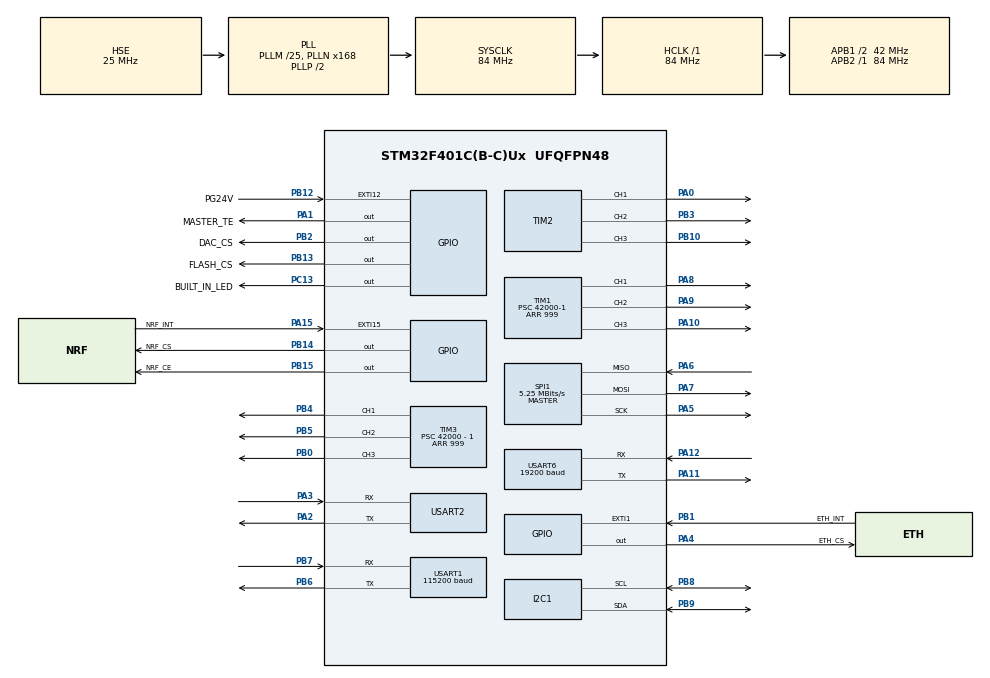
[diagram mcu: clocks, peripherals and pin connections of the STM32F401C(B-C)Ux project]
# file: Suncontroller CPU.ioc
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ADC1.Channel-1\#ChannelRegularConversion=ADC_CHANNEL_VBAT
ADC1.NbrOfConversionFlag=1
ADC1.Rank-1\#ChannelRegularConversion=1
ADC1.SamplingTime-1\#ChannelRegularConversion=ADC_SAMPLETIME_3CYCLES
ADC1.master=1
Dma.Request0=USART1_RX
Dma.Request1=USART2_RX
Dma.Request2=USART6_RX
Dma.USART1_RX.0.Direction=DMA_PERIPH_TO_MEMORY
Dma.USART1_RX.0.FIFOMode=DMA_FIFOMODE_DISABLE
Dma.USART1_RX.0.Instance=DMA2_Stream2
Dma.USART1_RX.0.MemDataAlignment=DMA_MDATAALIGN_BYTE
Dma.USART1_RX.0.MemInc=DMA_MINC_ENABLE
Dma.USART1_RX.0.Mode=DMA_CIRCULAR
Dma.USART1_RX.0.PeriphDataAlignment=DMA_PDATAALIGN_BYTE
Dma.USART1_RX.0.PeriphInc=DMA_PINC_DISABLE
Dma.USART1_RX.0.Priority=DMA_PRIORITY_LOW
Dma.USART2_RX.1.Direction=DMA_PERIPH_TO_MEMORY
Dma.USART2_RX.1.FIFOMode=DMA_FIFOMODE_DISABLE
Dma.USART2_RX.1.Instance=DMA1_Stream5
Dma.USART2_RX.1.MemDataAlignment=DMA_MDATAALIGN_BYTE
Dma.USART2_RX.1.MemInc=DMA_MINC_ENABLE
Dma.USART2_RX.1.Mode=DMA_CIRCULAR
Dma.USART2_RX.1.PeriphDataAlignment=DMA_PDATAALIGN_BYTE
Dma.USART2_RX.1.PeriphInc=DMA_PINC_DISABLE
Dma.USART2_RX.1.Priority=DMA_PRIORITY_LOW
Dma.USART6_RX.2.Direction=DMA_PERIPH_TO_MEMORY
Dma.USART6_RX.2.FIFOMode=DMA_FIFOMODE_DISABLE
Dma.USART6_RX.2.Instance=DMA2_Stream1
Dma.USART6_RX.2.MemDataAlignment=DMA_MDATAALIGN_BYTE
Dma.USART6_RX.2.MemInc=DMA_MINC_ENABLE
Dma.USART6_RX.2.Mode=DMA_CIRCULAR
Dma.USART6_RX.2.PeriphDataAlignment=DMA_PDATAALIGN_BYTE
Dma.USART6_RX.2.PeriphInc=DMA_PINC_DISABLE
Dma.USART6_RX.2.Priority=DMA_PRIORITY_LOW
FREERTOS.INCLUDE_vTaskDelayUntil=1
FREERTOS.INCLUDE_xTaskGetSchedulerState=1
FREERTOS.INCLUDE_xTaskResumeFromISR=0
FREERTOS.INCLUDE_xTimerPendFunctionCall=0
FREERTOS.Mutexes01=SPIMutex,Dynamic,NULL;I2CMutex,Dynamic,NULL;ModbusMutex,Dynamic,NULL
FREERTOS.Queues01=DataLogQueue,16,16,1,Dynamic,NULL,NULL
FREERTOS.Tasks01=defaultTask,8,128,StartDefaultTask,Default,NULL,Dynamic,NULL,NULL;PowerRegulation,48,256,RegulationTask,As weak,NULL,Dynamic,NULL,NULL;Diplays,24,256,DisplayTask,As weak,NULL,Dynamic,NULL,NULL;Ethernet,40,256,EthernetTask,As weak,NULL,Dynamic,NULL,NULL;nRF24L01,32,128,RadioTask,As weak,NULL,Dynamic,NULL,NULL;DataLog,16,128,DataLogTask,As weak,NULL,Dynamic,NULL,NULL
FREERTOS.Timers01=Config,ConfigSaveTmr,osTimerOnce,As weak,NULL,Dynamic,NULL
FREERTOS.configENABLE_FPU=1
FREERTOS.configGENERATE_RUN_TIME_STATS=1
FREERTOS.configRECORD_STACK_HIGH_ADDRESS=1
FREERTOS.configTOTAL_HEAP_SIZE=8192
FREERTOS.configUSE_IDLE_HOOK=0
FREERTOS.configUSE_STATS_FORMATTING_FUNCTIONS=1
FREERTOS.configUSE_TIMERS=1
FREERTOS.configUSE_TRACE_FACILITY=1
Mcu.Family=STM32F4
Mcu.Name=STM32F401C(B-C)Ux
Mcu.Package=UFQFPN48
NVIC.DMA1_Stream5_IRQn=true\:7\:0\:true\:false\:true\:true\:false\:true
NVIC.DMA2_Stream1_IRQn=true\:7\:0\:true\:false\:true\:true\:false\:true
NVIC.DMA2_Stream2_IRQn=true\:7\:0\:true\:false\:true\:true\:false\:true
NVIC.EXTI15_10_IRQn=true\:9\:0\:true\:false\:true\:true\:true\:true
NVIC.EXTI1_IRQn=true\:10\:0\:true\:false\:true\:true\:true\:true
NVIC.PriorityGroup=NVIC_PRIORITYGROUP_4
NVIC.TIM1_TRG_COM_TIM11_IRQn=true\:6\:0\:true\:false\:true\:true\:true\:true
NVIC.TIM1_UP_TIM10_IRQn=true\:0\:0\:false\:false\:true\:false\:false\:true
NVIC.TimeBase=TIM1_UP_TIM10_IRQn
NVIC.TimeBaseIP=TIM10
NVIC.USART1_IRQn=true\:8\:0\:true\:false\:true\:true\:true\:true
NVIC.USART2_IRQn=true\:8\:0\:true\:false\:true\:true\:true\:true
NVIC.USART6_IRQn=true\:8\:0\:true\:false\:true\:true\:true\:true
PA0-WKUP.Signal=S_TIM2_CH1_ETR
PA1.GPIO_Label=MASTER_TE
PA1.Signal=GPIO_Output
PA10.Signal=S_TIM1_CH3
PA11.Mode=Asynchronous
PA11.Signal=USART6_TX
PA12.Mode=Asynchronous
PA12.Signal=USART6_RX
PA13.Mode=Serial_Wire
PA13.Signal=SYS_JTMS-SWDIO
PA14.Mode=Serial_Wire
PA14.Signal=SYS_JTCK-SWCLK
PA15.GPIO_Label=NRF_INT
PA15.Signal=GPXTI15
PA2.Mode=Asynchronous
PA2.Signal=USART2_TX
PA3.Mode=Asynchronous
PA3.Signal=USART2_RX
PA4.GPIO_Label=ETH_CS
PA4.PinState=GPIO_PIN_SET
PA4.Signal=GPIO_Output
PA5.Mode=Full_Duplex_Master
PA5.Signal=SPI1_SCK
PA6.Mode=Full_Duplex_Master
PA6.Signal=SPI1_MISO
PA7.Mode=Full_Duplex_Master
PA7.Signal=SPI1_MOSI
PA8.Signal=S_TIM1_CH1
PA9.Signal=S_TIM1_CH2
PB0.Signal=S_TIM3_CH3
PB1.GPIO_Label=ETH_INT
PB1.GPIO_ModeDefaultEXTI=GPIO_MODE_IT_FALLING
PB1.GPIO_PuPd=GPIO_NOPULL
PB1.Signal=GPXTI1
PB10.Signal=S_TIM2_CH3
PB12.GPIO_Label=PG24V
PB12.GPIO_ModeDefaultEXTI=GPIO_MODE_IT_FALLING
PB12.Signal=GPXTI12
PB13.GPIO_Label=FLASH_CS
PB13.PinState=GPIO_PIN_SET
PB13.Signal=GPIO_Output
PB14.GPIO_Label=NRF_CS
PB14.PinState=GPIO_PIN_SET
PB14.Signal=GPIO_Output
PB15.GPIO_Label=NRF_CE
PB15.Signal=GPIO_Output
PB2.GPIO_Label=DAC_CS
PB2.PinState=GPIO_PIN_SET
PB2.Signal=GPIO_Output
PB3.Signal=S_TIM2_CH2
PB4.Signal=S_TIM3_CH1
PB5.Signal=S_TIM3_CH2
PB6.Mode=Asynchronous
PB6.Signal=USART1_TX
PB7.Mode=Asynchronous
PB7.Signal=USART1_RX
PB8.GPIO_PuPdOD=GPIO_NOPULL
PB8.Mode=I2C
PB8.Signal=I2C1_SCL
PB9.GPIO_PuPdOD=GPIO_NOPULL
PB9.Mode=I2C
PB9.Signal=I2C1_SDA
PC13-ANTI_TAMP.GPIO_Label=BUILT_IN_LED
PC13-ANTI_TAMP.Signal=GPIO_Output
PC14-OSC32_IN.Mode=LSE-External-Oscillator
PC14-OSC32_IN.Signal=RCC_OSC32_IN
PC15-OSC32_OUT.Mode=LSE-External-Oscillator
PC15-OSC32_OUT.Signal=RCC_OSC32_OUT
PH0\ -\ OSC_IN.Mode=HSE-External-Oscillator
PH0\ -\ OSC_IN.Signal=RCC_OSC_IN
PH1\ -\ OSC_OUT.Mode=HSE-External-Oscillator
PH1\ -\ OSC_OUT.Signal=RCC_OSC_OUT
ProjectManager.HeapSize=0x200
ProjectManager.StackSize=0x400
ProjectManager.TargetToolchain=STM32CubeIDE
RCC.48MHZClocksFreq_Value=42000000
RCC.AHBFreq_Value=84000000
RCC.APB1CLKDivider=RCC_HCLK_DIV2
RCC.APB1Freq_Value=42000000
RCC.APB1TimFreq_Value=84000000
RCC.APB2Freq_Value=84000000
RCC.APB2TimFreq_Value=84000000
RCC.CortexFreq_Value=84000000
RCC.EnbaleCSS=true
RCC.HCLKFreq_Value=84000000
RCC.HSE_Timout=100
RCC.HSE_VALUE=25000000
RCC.HSI_VALUE=16000000
RCC.LSE_Timout=100
RCC.PLLM=25
RCC.PLLN=168
RCC.PLLSourceVirtual=RCC_PLLSOURCE_HSE
RCC.RCC_RTC_Clock_SourceVirtual=RCC_RTCCLKSOURCE_LSE
RCC.RCC_TIM_PRescaler_Selection=RCC_TIMPRES_DESACTIVATED
RCC.SYSCLKFreq_VALUE=84000000
RCC.SYSCLKSource=RCC_SYSCLKSOURCE_PLLCLK
RCC.VCOOutputFreq_Value=168000000
SH.S_TIM1_CH1.0=TIM1_CH1,PWM Generation1 CH1
SH.S_TIM1_CH2.0=TIM1_CH2,PWM Generation2 CH2
SH.S_TIM1_CH3.0=TIM1_CH3,PWM Generation3 CH3
SH.S_TIM2_CH1_ETR.0=TIM2_CH1,PWM Generation1 CH1
SH.S_TIM2_CH2.0=TIM2_CH2,PWM Generation2 CH2
SH.S_TIM2_CH3.0=TIM2_CH3,PWM Generation3 CH3
SH.S_TIM3_CH1.0=TIM3_CH1,PWM Generation1 CH1
SH.S_TIM3_CH2.0=TIM3_CH2,PWM Generation2 CH2
SH.S_TIM3_CH3.0=TIM3_CH3,PWM Generation3 CH3
SPI1.BaudRatePrescaler=SPI_BAUDRATEPRESCALER_16
SPI1.CalculateBaudRate=5.25 MBits/s
SPI1.Direction=SPI_DIRECTION_2LINES
SPI1.Mode=SPI_MODE_MASTER
SPI1.VirtualType=VM_MASTER
TIM1.Channel-PWM\ Generation1\ CH1=TIM_CHANNEL_1
TIM1.Channel-PWM\ Generation2\ CH2=TIM_CHANNEL_2
TIM1.Channel-PWM\ Generation3\ CH3=TIM_CHANNEL_3
TIM1.ClockDivision=TIM_CLOCKDIVISION_DIV2
TIM1.Period=999
TIM1.Prescaler=42000-1
TIM11.Period=840 - 1
TIM2.Channel-PWM\ Generation1\ CH1=TIM_CHANNEL_1
TIM2.Channel-PWM\ Generation2\ CH2=TIM_CHANNEL_2
TIM2.Channel-PWM\ Generation3\ CH3=TIM_CHANNEL_3
TIM3.Channel-PWM\ Generation1\ CH1=TIM_CHANNEL_1
TIM3.Channel-PWM\ Generation2\ CH2=TIM_CHANNEL_2
TIM3.Channel-PWM\ Generation3\ CH3=TIM_CHANNEL_3
TIM3.ClockDivision=TIM_CLOCKDIVISION_DIV2
TIM3.Period=999
TIM3.Prescaler=42000 - 1
USART1.BaudRate=115200
USART1.VirtualMode=VM_ASYNC
USART2.VirtualMode=VM_ASYNC
USART6.BaudRate=19200
USART6.VirtualMode=VM_ASYNC
VP_ADC1_Vbat_Input.Mode=IN-Vbat
VP_CRC_VS_CRC.Mode=CRC_Activate
VP_FREERTOS_VS_CMSIS_V2.Mode=CMSIS_V2
VP_RTC_VS_RTC_Activate.Mode=RTC_Enabled
VP_RTC_VS_RTC_Calendar.Mode=RTC_Calendar
VP_SYS_VS_tim10.Mode=TIM10
VP_TIM11_VS_ClockSourceINT.Mode=Enable_Timer
board=custom

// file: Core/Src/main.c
/* USER CODE BEGIN Header */
/**
  ******************************************************************************
  * @file           : main.c
  * @brief          : Main program body
  ******************************************************************************
  * @attention
  *
  * <h2><center>&copy; Copyright (c) 2020 STMicroelectronics.
  * All rights reserved.</center></h2>
  *
  * This software component is licensed by ST under BSD 3-Clause license,
  * the "License"; You may not use this file except in compliance with the
  * License. You may obtain a copy of the License at:
  *                        opensource.org/licenses/BSD-3-Clause
  *
  ******************************************************************************
  */

/* USER CODE END Header */
#include "main.h"
#include "cmsis_os.h"

/* USER CODE BEGIN Includes */

#include "Application/Tasks/RegulationTask/RegulationTask.h"
#include "Application/Tasks/DisplayTask/DisplayTask.h"
#include "Application/Tasks/DataLogTask/DataLogTask.h"
#include "Application/Tasks/EthernetTask/EthernetTask.h"
#include "Application/Tasks/RadioTask/RadioTask.h"
#include "Utils/Config/config.h"
#include "Utils/DataLog/dataLog.h"
#include "Utils/Modbus/ModbusRTUMaster.h"

#include "Internet/DNS/dns.h"
/* USER CODE END Includes */

ADC_HandleTypeDef hadc1;

CRC_HandleTypeDef hcrc;

I2C_HandleTypeDef hi2c1;

RTC_HandleTypeDef hrtc;

SPI_HandleTypeDef hspi1;

TIM_HandleTypeDef htim1;
TIM_HandleTypeDef htim2;
TIM_HandleTypeDef htim3;
TIM_HandleTypeDef htim11;

UART_HandleTypeDef huart1;
UART_HandleTypeDef huart2;
UART_HandleTypeDef huart6;
DMA_HandleTypeDef hdma_usart1_rx;
DMA_HandleTypeDef hdma_usart2_rx;
DMA_HandleTypeDef hdma_usart6_rx;

/* Definitions for defaultTask */
osThreadId_t defaultTaskHandle;
const osThreadAttr_t defaultTask_attributes = {
  .name = "defaultTask",
  .priority = (osPriority_t) osPriorityLow,
  .stack_size = 128 * 4
};
/* Definitions for PowerRegulation */
osThreadId_t PowerRegulationHandle;
const osThreadAttr_t PowerRegulation_attributes = {
  .name = "PowerRegulation",
  .priority = (osPriority_t) osPriorityRealtime,
  .stack_size = 256 * 4
};
/* Definitions for Diplays */
osThreadId_t DiplaysHandle;
const osThreadAttr_t Diplays_attributes = {
  .name = "Diplays",
  .priority = (osPriority_t) osPriorityNormal,
  .stack_size = 256 * 4
};
/* Definitions for Ethernet */
osThreadId_t EthernetHandle;
const osThreadAttr_t Ethernet_attributes = {
  .name = "Ethernet",
  .priority = (osPriority_t) osPriorityHigh,
  .stack_size = 256 * 4
};
/* Definitions for nRF24L01 */
osThreadId_t nRF24L01Handle;
const osThreadAttr_t nRF24L01_attributes = {
  .name = "nRF24L01",
  .priority = (osPriority_t) osPriorityAboveNormal,
  .stack_size = 128 * 4
};
/* Definitions for DataLog */
osThreadId_t DataLogHandle;
const osThreadAttr_t DataLog_attributes = {
  .name = "DataLog",
  .priority = (osPriority_t) osPriorityBelowNormal,
  .stack_size = 128 * 4
};
/* Definitions for DataLogQueue */
osMessageQueueId_t DataLogQueueHandle;
const osMessageQueueAttr_t DataLogQueue_attributes = {
  .name = "DataLogQueue"
};
/* Definitions for Config */
osTimerId_t ConfigHandle;
const osTimerAttr_t Config_attributes = {
  .name = "Config"
};
/* Definitions for SPIMutex */
osMutexId_t SPIMutexHandle;
const osMutexAttr_t SPIMutex_attributes = {
  .name = "SPIMutex"
};
/* Definitions for I2CMutex */
osMutexId_t I2CMutexHandle;
const osMutexAttr_t I2CMutex_attributes = {
  .name = "I2CMutex"
};
/* Definitions for ModbusMutex */
osMutexId_t ModbusMutexHandle;
const osMutexAttr_t ModbusMutex_attributes = {
  .name = "ModbusMutex"
};
/* USER CODE BEGIN PV */
unsigned long ulHighFreqTimerTicks;
/* USER CODE END PV */

void SystemClock_Config(void);
static void MX_GPIO_Init(void);
static void MX_DMA_Init(void);
static void MX_I2C1_Init(void);
static void MX_SPI1_Init(void);
static void MX_TIM1_Init(void);
static void MX_TIM3_Init(void);
static void MX_USART1_UART_Init(void);
static void MX_USART2_UART_Init(void);
static void MX_USART6_UART_Init(void);
static void MX_TIM2_Init(void);
static void MX_ADC1_Init(void);
static void MX_RTC_Init(void);
static void MX_CRC_Init(void);
static void MX_TIM11_Init(void);
void StartDefaultTask(void *argument);
void RegulationTask(void *argument);
void DisplayTask(void *argument);
void EthernetTask(void *argument);
void RadioTask(void *argument);
void DataLogTask(void *argument);
void ConfigSaveTmr(void *argument);

/* USER CODE BEGIN PFP */
void ModifyEEPROMStruct (uint32_t data, int32_t value);

/* USER CODE END PFP */

int main(void)

{

  /* MCU Configuration--------------------------------------------------------*/

  /* Reset of all peripherals, Initializes the Flash interface and the Systick. */
  HAL_Init();

  /* Configure the system clock */
  SystemClock_Config();

  /* Initialize all configured peripherals */
  MX_GPIO_Init();
  MX_DMA_Init();
  MX_I2C1_Init();
  MX_SPI1_Init();
  MX_TIM1_Init();
  MX_TIM3_Init();
  MX_USART1_UART_Init();
  MX_USART2_UART_Init();
  MX_USART6_UART_Init();
  MX_TIM2_Init();
  MX_ADC1_Init();
  MX_RTC_Init();
  MX_CRC_Init();
  MX_TIM11_Init();
  /* USER CODE BEGIN 2 */
  HAL_TIM_Base_Start_IT(&htim11);

  /* USER CODE END 2 */

  /* Init scheduler */
  osKernelInitialize();
  /* Create the mutex(es) */
  /* creation of SPIMutex */
  SPIMutexHandle = osMutexNew(&SPIMutex_attributes);

  /* creation of I2CMutex */
  I2CMutexHandle = osMutexNew(&I2CMutex_attributes);

  /* creation of ModbusMutex */
  ModbusMutexHandle = osMutexNew(&ModbusMutex_attributes);

  /* USER CODE BEGIN RTOS_MUTEX */
  /* add mutexes, ... */
  Config_Init(&hi2c1);
  /* USER CODE END RTOS_MUTEX */

  /* Create the timer(s) */
  /* creation of Config */
  ConfigHandle = osTimerNew(ConfigSaveTmr, osTimerOnce, NULL, &Config_attributes);

  /* Create the queue(s) */
  /* creation of DataLogQueue */
  DataLogQueueHandle = osMessageQueueNew (16, 16, &DataLogQueue_attributes);

  /* Create the thread(s) */
  /* creation of defaultTask */
  defaultTaskHandle = osThreadNew(StartDefaultTask, NULL, &defaultTask_attributes);

  /* creation of PowerRegulation */
  PowerRegulationHandle = osThreadNew(RegulationTask, NULL, &PowerRegulation_attributes);

  /* creation of Diplays */
  DiplaysHandle = osThreadNew(DisplayTask, NULL, &Diplays_attributes);

  /* creation of Ethernet */
  EthernetHandle = osThreadNew(EthernetTask, NULL, &Ethernet_attributes);

  /* creation of nRF24L01 */
  nRF24L01Handle = osThreadNew(RadioTask, NULL, &nRF24L01_attributes);

  /* creation of DataLog */
  DataLogHandle = osThreadNew(DataLogTask, NULL, &DataLog_attributes);

  /* Start scheduler */
  osKernelStart();

  /* We should never get here as control is now taken by the scheduler */
  /* Infinite loop */
  while (1)
  {

  }
}

void SystemClock_Config(void)
{
  RCC_OscInitTypeDef RCC_OscInitStruct = {0};
  RCC_ClkInitTypeDef RCC_ClkInitStruct = {0};
  RCC_PeriphCLKInitTypeDef PeriphClkInitStruct = {0};

  /** Configure the main internal regulator output voltage
  */
  __HAL_RCC_PWR_CLK_ENABLE();
  __HAL_PWR_VOLTAGESCALING_CONFIG(PWR_REGULATOR_VOLTAGE_SCALE2);
  /** Initializes the RCC Oscillators according to the specified parameters
  * in the RCC_OscInitTypeDef structure.
  */
  RCC_OscInitStruct.OscillatorType = RCC_OSCILLATORTYPE_HSE|RCC_OSCILLATORTYPE_LSE;
  RCC_OscInitStruct.HSEState = RCC_HSE_ON;
  RCC_OscInitStruct.LSEState = RCC_LSE_ON;
  RCC_OscInitStruct.PLL.PLLState = RCC_PLL_ON;
  RCC_OscInitStruct.PLL.PLLSource = RCC_PLLSOURCE_HSE;
  RCC_OscInitStruct.PLL.PLLM = 25;
  RCC_OscInitStruct.PLL.PLLN = 168;
  RCC_OscInitStruct.PLL.PLLP = RCC_PLLP_DIV2;
  RCC_OscInitStruct.PLL.PLLQ = 4;
  if (HAL_RCC_OscConfig(&RCC_OscInitStruct) != HAL_OK)
  {
    Error_Handler();
  }
  /** Initializes the CPU, AHB and APB buses clocks
  */
  RCC_ClkInitStruct.ClockType = RCC_CLOCKTYPE_HCLK|RCC_CLOCKTYPE_SYSCLK
                              |RCC_CLOCKTYPE_PCLK1|RCC_CLOCKTYPE_PCLK2;
  RCC_ClkInitStruct.SYSCLKSource = RCC_SYSCLKSOURCE_PLLCLK;
  RCC_ClkInitStruct.AHBCLKDivider = RCC_SYSCLK_DIV1;
  RCC_ClkInitStruct.APB1CLKDivider = RCC_HCLK_DIV2;
  RCC_ClkInitStruct.APB2CLKDivider = RCC_HCLK_DIV1;

  if (HAL_RCC_ClockConfig(&RCC_ClkInitStruct, FLASH_LATENCY_2) != HAL_OK)
  {
    Error_Handler();
  }
  PeriphClkInitStruct.PeriphClockSelection = RCC_PERIPHCLK_RTC;
  PeriphClkInitStruct.RTCClockSelection = RCC_RTCCLKSOURCE_LSE;
  if (HAL_RCCEx_PeriphCLKConfig(&PeriphClkInitStruct) != HAL_OK)
  {
    Error_Handler();
  }
  /** Enables the Clock Security System
  */
  HAL_RCC_EnableCSS();
}

static void MX_ADC1_Init(void)
{

  ADC_ChannelConfTypeDef sConfig = {0};

  /** Configure the global features of the ADC (Clock, Resolution, Data Alignment and number of conversion)
  */
  hadc1.Instance = ADC1;
  hadc1.Init.ClockPrescaler = ADC_CLOCK_SYNC_PCLK_DIV4;
  hadc1.Init.Resolution = ADC_RESOLUTION_12B;
  hadc1.Init.ScanConvMode = DISABLE;
  hadc1.Init.ContinuousConvMode = DISABLE;
  hadc1.Init.DiscontinuousConvMode = DISABLE;
  hadc1.Init.ExternalTrigConvEdge = ADC_EXTERNALTRIGCONVEDGE_NONE;
  hadc1.Init.ExternalTrigConv = ADC_SOFTWARE_START;
  hadc1.Init.DataAlign = ADC_DATAALIGN_RIGHT;
  hadc1.Init.NbrOfConversion = 1;
  hadc1.Init.DMAContinuousRequests = DISABLE;
  hadc1.Init.EOCSelection = ADC_EOC_SINGLE_CONV;
  if (HAL_ADC_Init(&hadc1) != HAL_OK)
  {
    Error_Handler();
  }
  /** Configure for the selected ADC regular channel its corresponding rank in the sequencer and its sample time.
  */
  sConfig.Channel = ADC_CHANNEL_VBAT;
  sConfig.Rank = 1;
  sConfig.SamplingTime = ADC_SAMPLETIME_3CYCLES;
  if (HAL_ADC_ConfigChannel(&hadc1, &sConfig) != HAL_OK)
  {
    Error_Handler();
  }

}

static void MX_CRC_Init(void)
{

  hcrc.Instance = CRC;
  if (HAL_CRC_Init(&hcrc) != HAL_OK)
  {
    Error_Handler();
  }

}

static void MX_I2C1_Init(void)
{

  hi2c1.Instance = I2C1;
  hi2c1.Init.ClockSpeed = 100000;
  hi2c1.Init.DutyCycle = I2C_DUTYCYCLE_2;
  hi2c1.Init.OwnAddress1 = 0;
  hi2c1.Init.AddressingMode = I2C_ADDRESSINGMODE_7BIT;
  hi2c1.Init.DualAddressMode = I2C_DUALADDRESS_DISABLE;
  hi2c1.Init.OwnAddress2 = 0;
  hi2c1.Init.GeneralCallMode = I2C_GENERALCALL_DISABLE;
  hi2c1.Init.NoStretchMode = I2C_NOSTRETCH_DISABLE;
  if (HAL_I2C_Init(&hi2c1) != HAL_OK)
  {
    Error_Handler();
  }

}

static void MX_RTC_Init(void)
{

  RTC_TimeTypeDef sTime = {0};
  RTC_DateTypeDef sDate = {0};

  /** Initialize RTC Only
  */
  hrtc.Instance = RTC;
  hrtc.Init.HourFormat = RTC_HOURFORMAT_24;
  hrtc.Init.AsynchPrediv = 127;
  hrtc.Init.SynchPrediv = 255;
  hrtc.Init.OutPut = RTC_OUTPUT_DISABLE;
  hrtc.Init.OutPutPolarity = RTC_OUTPUT_POLARITY_HIGH;
  hrtc.Init.OutPutType = RTC_OUTPUT_TYPE_OPENDRAIN;
  if (HAL_RTC_Init(&hrtc) != HAL_OK)
  {
    Error_Handler();
  }

  /* USER CODE BEGIN Check_RTC_BKUP */
    return;
  /* USER CODE END Check_RTC_BKUP */

  /** Initialize RTC and set the Time and Date
  */
  sTime.Hours = 0x0;
  sTime.Minutes = 0x0;
  sTime.Seconds = 0x0;
  sTime.DayLightSaving = RTC_DAYLIGHTSAVING_NONE;
  sTime.StoreOperation = RTC_STOREOPERATION_RESET;
  if (HAL_RTC_SetTime(&hrtc, &sTime, RTC_FORMAT_BCD) != HAL_OK)
  {
    Error_Handler();
  }
  sDate.WeekDay = RTC_WEEKDAY_MONDAY;
  sDate.Month = RTC_MONTH_JANUARY;
  sDate.Date = 0x1;
  sDate.Year = 0x0;

  if (HAL_RTC_SetDate(&hrtc, &sDate, RTC_FORMAT_BCD) != HAL_OK)
  {
    Error_Handler();
  }

}

static void MX_SPI1_Init(void)
{

  /* SPI1 parameter configuration*/
  hspi1.Instance = SPI1;
  hspi1.Init.Mode = SPI_MODE_MASTER;
  hspi1.Init.Direction = SPI_DIRECTION_2LINES;
  hspi1.Init.DataSize = SPI_DATASIZE_8BIT;
  hspi1.Init.CLKPolarity = SPI_POLARITY_LOW;
  hspi1.Init.CLKPhase = SPI_PHASE_1EDGE;
  hspi1.Init.NSS = SPI_NSS_SOFT;
  hspi1.Init.BaudRatePrescaler = SPI_BAUDRATEPRESCALER_16;
  hspi1.Init.FirstBit = SPI_FIRSTBIT_MSB;
  hspi1.Init.TIMode = SPI_TIMODE_DISABLE;
  hspi1.Init.CRCCalculation = SPI_CRCCALCULATION_DISABLE;
  hspi1.Init.CRCPolynomial = 10;
  if (HAL_SPI_Init(&hspi1) != HAL_OK)
  {
    Error_Handler();
  }

}

static void MX_TIM1_Init(void)
{

  TIM_MasterConfigTypeDef sMasterConfig = {0};
  TIM_OC_InitTypeDef sConfigOC = {0};
  TIM_BreakDeadTimeConfigTypeDef sBreakDeadTimeConfig = {0};

  htim1.Instance = TIM1;
  htim1.Init.Prescaler = 42000-1;
  htim1.Init.CounterMode = TIM_COUNTERMODE_UP;
  htim1.Init.Period = 999;
  htim1.Init.ClockDivision = TIM_CLOCKDIVISION_DIV2;
  htim1.Init.RepetitionCounter = 0;
  htim1.Init.AutoReloadPreload = TIM_AUTORELOAD_PRELOAD_DISABLE;
  if (HAL_TIM_PWM_Init(&htim1) != HAL_OK)
  {
    Error_Handler();
  }
  sMasterConfig.MasterOutputTrigger = TIM_TRGO_RESET;
  sMasterConfig.MasterSlaveMode = TIM_MASTERSLAVEMODE_DISABLE;
  if (HAL_TIMEx_MasterConfigSynchronization(&htim1, &sMasterConfig) != HAL_OK)
  {
    Error_Handler();
  }
  sConfigOC.OCMode = TIM_OCMODE_PWM1;
  sConfigOC.Pulse = 0;
  sConfigOC.OCPolarity = TIM_OCPOLARITY_HIGH;
  sConfigOC.OCNPolarity = TIM_OCNPOLARITY_HIGH;
  sConfigOC.OCFastMode = TIM_OCFAST_DISABLE;
  sConfigOC.OCIdleState = TIM_OCIDLESTATE_RESET;
  sConfigOC.OCNIdleState = TIM_OCNIDLESTATE_RESET;
  if (HAL_TIM_PWM_ConfigChannel(&htim1, &sConfigOC, TIM_CHANNEL_1) != HAL_OK)
  {
    Error_Handler();
  }
  if (HAL_TIM_PWM_ConfigChannel(&htim1, &sConfigOC, TIM_CHANNEL_2) != HAL_OK)
  {
    Error_Handler();
  }
  if (HAL_TIM_PWM_ConfigChannel(&htim1, &sConfigOC, TIM_CHANNEL_3) != HAL_OK)
  {
    Error_Handler();
  }
  sBreakDeadTimeConfig.OffStateRunMode = TIM_OSSR_DISABLE;
  sBreakDeadTimeConfig.OffStateIDLEMode = TIM_OSSI_DISABLE;
  sBreakDeadTimeConfig.LockLevel = TIM_LOCKLEVEL_OFF;
  sBreakDeadTimeConfig.DeadTime = 0;
  sBreakDeadTimeConfig.BreakState = TIM_BREAK_DISABLE;
  sBreakDeadTimeConfig.BreakPolarity = TIM_BREAKPOLARITY_HIGH;
  sBreakDeadTimeConfig.AutomaticOutput = TIM_AUTOMATICOUTPUT_DISABLE;
  if (HAL_TIMEx_ConfigBreakDeadTime(&htim1, &sBreakDeadTimeConfig) != HAL_OK)
  {
    Error_Handler();
  }
  HAL_TIM_MspPostInit(&htim1);

}

static void MX_TIM2_Init(void)
{

  TIM_MasterConfigTypeDef sMasterConfig = {0};
  TIM_OC_InitTypeDef sConfigOC = {0};

  htim2.Instance = TIM2;
  htim2.Init.Prescaler = 0;
  htim2.Init.CounterMode = TIM_COUNTERMODE_UP;
  htim2.Init.Period = 4294967295;
  htim2.Init.ClockDivision = TIM_CLOCKDIVISION_DIV1;
  htim2.Init.AutoReloadPreload = TIM_AUTORELOAD_PRELOAD_DISABLE;
  if (HAL_TIM_PWM_Init(&htim2) != HAL_OK)
  {
    Error_Handler();
  }
  sMasterConfig.MasterOutputTrigger = TIM_TRGO_RESET;
  sMasterConfig.MasterSlaveMode = TIM_MASTERSLAVEMODE_DISABLE;
  if (HAL_TIMEx_MasterConfigSynchronization(&htim2, &sMasterConfig) != HAL_OK)
  {
    Error_Handler();
  }
  sConfigOC.OCMode = TIM_OCMODE_PWM1;
  sConfigOC.Pulse = 0;
  sConfigOC.OCPolarity = TIM_OCPOLARITY_HIGH;
  sConfigOC.OCFastMode = TIM_OCFAST_DISABLE;
  if (HAL_TIM_PWM_ConfigChannel(&htim2, &sConfigOC, TIM_CHANNEL_1) != HAL_OK)
  {
    Error_Handler();
  }
  if (HAL_TIM_PWM_ConfigChannel(&htim2, &sConfigOC, TIM_CHANNEL_2) != HAL_OK)
  {
    Error_Handler();
  }
  if (HAL_TIM_PWM_ConfigChannel(&htim2, &sConfigOC, TIM_CHANNEL_3) != HAL_OK)
  {
    Error_Handler();
  }
  HAL_TIM_MspPostInit(&htim2);

}

static void MX_TIM3_Init(void)
{

  TIM_MasterConfigTypeDef sMasterConfig = {0};
  TIM_OC_InitTypeDef sConfigOC = {0};

  htim3.Instance = TIM3;
  htim3.Init.Prescaler = 42000 - 1;
  htim3.Init.CounterMode = TIM_COUNTERMODE_UP;
  htim3.Init.Period = 999;
  htim3.Init.ClockDivision = TIM_CLOCKDIVISION_DIV2;
  htim3.Init.AutoReloadPreload = TIM_AUTORELOAD_PRELOAD_DISABLE;
  if (HAL_TIM_PWM_Init(&htim3) != HAL_OK)
  {
    Error_Handler();
  }
  sMasterConfig.MasterOutputTrigger = TIM_TRGO_RESET;
  sMasterConfig.MasterSlaveMode = TIM_MASTERSLAVEMODE_DISABLE;
  if (HAL_TIMEx_MasterConfigSynchronization(&htim3, &sMasterConfig) != HAL_OK)
  {
    Error_Handler();
  }
  sConfigOC.OCMode = TIM_OCMODE_PWM1;
  sConfigOC.Pulse = 0;
  sConfigOC.OCPolarity = TIM_OCPOLARITY_HIGH;
  sConfigOC.OCFastMode = TIM_OCFAST_DISABLE;
  if (HAL_TIM_PWM_ConfigChannel(&htim3, &sConfigOC, TIM_CHANNEL_1) != HAL_OK)
  {
    Error_Handler();
  }
  if (HAL_TIM_PWM_ConfigChannel(&htim3, &sConfigOC, TIM_CHANNEL_2) != HAL_OK)
  {
    Error_Handler();
  }
  if (HAL_TIM_PWM_ConfigChannel(&htim3, &sConfigOC, TIM_CHANNEL_3) != HAL_OK)
  {
    Error_Handler();
  }
  HAL_TIM_MspPostInit(&htim3);

}

static void MX_TIM11_Init(void)
{

  htim11.Instance = TIM11;
  htim11.Init.Prescaler = 0;
  htim11.Init.CounterMode = TIM_COUNTERMODE_UP;
  htim11.Init.Period = 840 - 1;
  htim11.Init.ClockDivision = TIM_CLOCKDIVISION_DIV1;
  htim11.Init.AutoReloadPreload = TIM_AUTORELOAD_PRELOAD_DISABLE;
  if (HAL_TIM_Base_Init(&htim11) != HAL_OK)
  {
    Error_Handler();
  }

}

static void MX_USART1_UART_Init(void)
{

  huart1.Instance = USART1;
  huart1.Init.BaudRate = 19200;
  huart1.Init.WordLength = UART_WORDLENGTH_8B;
  huart1.Init.StopBits = UART_STOPBITS_1;
  huart1.Init.Parity = UART_PARITY_NONE;
  huart1.Init.Mode = UART_MODE_TX_RX;
  huart1.Init.HwFlowCtl = UART_HWCONTROL_NONE;
  huart1.Init.OverSampling = UART_OVERSAMPLING_16;
  if (HAL_UART_Init(&huart1) != HAL_OK)
  {
    Error_Handler();
  }

}

static void MX_USART2_UART_Init(void)
{

  huart2.Instance = USART2;
  huart2.Init.BaudRate = 115200;
  huart2.Init.WordLength = UART_WORDLENGTH_8B;
  huart2.Init.StopBits = UART_STOPBITS_1;
  huart2.Init.Parity = UART_PARITY_NONE;
  huart2.Init.Mode = UART_MODE_TX_RX;
  huart2.Init.HwFlowCtl = UART_HWCONTROL_NONE;
  huart2.Init.OverSampling = UART_OVERSAMPLING_16;
  if (HAL_UART_Init(&huart2) != HAL_OK)
  {
    Error_Handler();
  }

}

static void MX_USART6_UART_Init(void)
{

  huart6.Instance = USART6;
  huart6.Init.BaudRate = 19200;
  huart6.Init.WordLength = UART_WORDLENGTH_8B;
  huart6.Init.StopBits = UART_STOPBITS_1;
  huart6.Init.Parity = UART_PARITY_NONE;
  huart6.Init.Mode = UART_MODE_TX_RX;
  huart6.Init.HwFlowCtl = UART_HWCONTROL_NONE;
  huart6.Init.OverSampling = UART_OVERSAMPLING_16;
  if (HAL_UART_Init(&huart6) != HAL_OK)
  {
    Error_Handler();
  }

}

static void MX_DMA_Init(void)
{

  /* DMA controller clock enable */
  __HAL_RCC_DMA2_CLK_ENABLE();
  __HAL_RCC_DMA1_CLK_ENABLE();

  /* DMA interrupt init */
  /* DMA1_Stream5_IRQn interrupt configuration */
  HAL_NVIC_SetPriority(DMA1_Stream5_IRQn, 7, 0);
  HAL_NVIC_EnableIRQ(DMA1_Stream5_IRQn);
  /* DMA2_Stream1_IRQn interrupt configuration */
  HAL_NVIC_SetPriority(DMA2_Stream1_IRQn, 7, 0);
  HAL_NVIC_EnableIRQ(DMA2_Stream1_IRQn);
  /* DMA2_Stream2_IRQn interrupt configuration */
  HAL_NVIC_SetPriority(DMA2_Stream2_IRQn, 7, 0);
  HAL_NVIC_EnableIRQ(DMA2_Stream2_IRQn);

}

static void MX_GPIO_Init(void)
{
  GPIO_InitTypeDef GPIO_InitStruct = {0};

  /* GPIO Ports Clock Enable */
  __HAL_RCC_GPIOC_CLK_ENABLE();
  __HAL_RCC_GPIOH_CLK_ENABLE();
  __HAL_RCC_GPIOA_CLK_ENABLE();
  __HAL_RCC_GPIOB_CLK_ENABLE();

  /*Configure GPIO pin Output Level */
  HAL_GPIO_WritePin(BUILT_IN_LED_GPIO_Port, BUILT_IN_LED_Pin, GPIO_PIN_RESET);

  /*Configure GPIO pin Output Level */
  HAL_GPIO_WritePin(MASTER_TE_GPIO_Port, MASTER_TE_Pin, GPIO_PIN_RESET);

  /*Configure GPIO pin Output Level */
  HAL_GPIO_WritePin(ETH_CS_GPIO_Port, ETH_CS_Pin, GPIO_PIN_SET);

  /*Configure GPIO pin Output Level */
  HAL_GPIO_WritePin(GPIOB, DAC_CS_Pin|FLASH_CS_Pin|NRF_CS_Pin, GPIO_PIN_SET);

  /*Configure GPIO pin Output Level */
  HAL_GPIO_WritePin(NRF_CE_GPIO_Port, NRF_CE_Pin, GPIO_PIN_RESET);

  /*Configure GPIO pin : BUILT_IN_LED_Pin */
  GPIO_InitStruct.Pin = BUILT_IN_LED_Pin;
  GPIO_InitStruct.Mode = GPIO_MODE_OUTPUT_PP;
  GPIO_InitStruct.Pull = GPIO_NOPULL;
  GPIO_InitStruct.Speed = GPIO_SPEED_FREQ_LOW;
  HAL_GPIO_Init(BUILT_IN_LED_GPIO_Port, &GPIO_InitStruct);

  /*Configure GPIO pins : MASTER_TE_Pin ETH_CS_Pin */
  GPIO_InitStruct.Pin = MASTER_TE_Pin|ETH_CS_Pin;
  GPIO_InitStruct.Mode = GPIO_MODE_OUTPUT_PP;
  GPIO_InitStruct.Pull = GPIO_NOPULL;
  GPIO_InitStruct.Speed = GPIO_SPEED_FREQ_LOW;
  HAL_GPIO_Init(GPIOA, &GPIO_InitStruct);

  /*Configure GPIO pins : ETH_INT_Pin PG24V_Pin */
  GPIO_InitStruct.Pin = ETH_INT_Pin|PG24V_Pin;
  GPIO_InitStruct.Mode = GPIO_MODE_IT_FALLING;
  GPIO_InitStruct.Pull = GPIO_NOPULL;
  HAL_GPIO_Init(GPIOB, &GPIO_InitStruct);

  /*Configure GPIO pins : DAC_CS_Pin FLASH_CS_Pin NRF_CS_Pin NRF_CE_Pin */
  GPIO_InitStruct.Pin = DAC_CS_Pin|FLASH_CS_Pin|NRF_CS_Pin|NRF_CE_Pin;
  GPIO_InitStruct.Mode = GPIO_MODE_OUTPUT_PP;
  GPIO_InitStruct.Pull = GPIO_NOPULL;
  GPIO_InitStruct.Speed = GPIO_SPEED_FREQ_LOW;
  HAL_GPIO_Init(GPIOB, &GPIO_InitStruct);

  /*Configure GPIO pin : NRF_INT_Pin */
  GPIO_InitStruct.Pin = NRF_INT_Pin;
  GPIO_InitStruct.Mode = GPIO_MODE_IT_RISING;
  GPIO_InitStruct.Pull = GPIO_NOPULL;
  HAL_GPIO_Init(NRF_INT_GPIO_Port, &GPIO_InitStruct);

  /* EXTI interrupt init*/
  HAL_NVIC_SetPriority(EXTI1_IRQn, 10, 0);
  HAL_NVIC_EnableIRQ(EXTI1_IRQn);

  HAL_NVIC_SetPriority(EXTI15_10_IRQn, 9, 0);
  HAL_NVIC_EnableIRQ(EXTI15_10_IRQn);

}

/* USER CODE BEGIN 4 */

/*void ModifyEEPROMStruct (uint32_t data, int32_t value){
	switch (data){
		case 0:
			if(value < 24)currTime.Hours = (uint8_t)value;
			break;

		case 1:
			if(value < 60)currTime.Minutes = (uint8_t)value;
			break;

		case 2:
			if(value < 60)currTime.Seconds = (uint8_t)value;
			break;

		case 3:
			if(value < 32)currDate.Date = (uint8_t)value;
			break;

		case 4:
			if(value < 13)currDate.Month = (uint8_t)value;
			break;

		case 5:
			currDate.Year = (uint8_t)(value - 2000);
			break;

		case 6:
			if(value > counter.eeprom_data.CO_lo_temp) counter.eeprom_data.CO_hi_temp = (int8_t)value;
			break;

		case 7:
			if(value < counter.eeprom_data.CO_hi_temp) counter.eeprom_data.CO_lo_temp = (int8_t)value;
			break;

		case 8:
			counter.eeprom_data.CO_heater_power = (float)value;
			break;

		case 9:
			if(value > counter.eeprom_data.CWU_lo_temp) counter.eeprom_data.CWU_hi_temp = (int8_t)value;
			break;

		case 10:
			if(value < counter.eeprom_data.CWU_hi_temp) counter.eeprom_data.CWU_lo_temp = (int8_t)value;
			break;

		case 11:
			counter.eeprom_data.CWU_heater_power = (float)value;
			break;

		case 12:
			if(value >= 0 && value <= 100) counter.eeprom_data.acumulated_power_coeff = (int8_t)value;
			break;

		case 13:
			if(value >= 0 && value <= 100) counter.eeprom_data.heater_power_coeff = (int8_t)value;;
			break;

		default:
			break;
	}
	if(data >= 0 && data < 3){

		//HAL_RTC_SetTime(&hrtc, &currTime, RTC_FORMAT_BIN);

	}else if(data >= 3 && data < 6){

		//HAL_RTC_SetDate(&hrtc, &currDate, RTC_FORMAT_BIN);

	}else if(data >= 6){
		xTaskNotifyFromISR(WyswietlanieHandle, data, eSetValueWithOverwrite, NULL);
	}
}*/

extern ModbusRTUMaster_t mbPort;

void HAL_UART_RxCpltCallback(UART_HandleTypeDef *huart){
	if(huart -> Instance == USART2){
		ModbusRTUMaster_ReceieveResponseCallback(&mbPort);
	}
}

void HAL_UART_TxCpltCallback(UART_HandleTypeDef *huart){
	if(huart -> Instance == USART2){
		/*
		 * TODO: ADD Modbus TX Callback
		 */
		vTaskNotifyGiveFromISR((TaskHandle_t)mbPort.task, NULL);
		HAL_GPIO_WritePin(BUILT_IN_LED_GPIO_Port, BUILT_IN_LED_Pin, GPIO_PIN_SET);
		HAL_GPIO_WritePin(MASTER_TE_GPIO_Port, MASTER_TE_Pin, GPIO_PIN_RESET);
	}
}

/*void HAL_ADC_ConvCpltCallback(ADC_HandleTypeDef* hadc){
	vbat_raw = HAL_ADC_GetValue(&hadc1);
	vbat = (float)vbat_raw / 4096.0 * 3.3 * 4.0;
	HAL_ADC_Start_IT(&hadc1);
}*/

void HAL_GPIO_EXTI_Callback(uint16_t GPIO_Pin){
	if(GPIO_Pin & NRF_INT_Pin){
		vTaskNotifyGiveFromISR(nRF24L01Handle, NULL);
	}

	if(GPIO_Pin & ETH_INT_Pin){
		vTaskNotifyGiveFromISR(EthernetHandle, NULL);
	}

	if(GPIO_Pin & PG24V_Pin){
		uint32_t value;
		value = HAL_RTCEx_BKUPRead(&hrtc, 0);
		value ++;
		HAL_RTCEx_BKUPWrite(&hrtc, 0, value);
	}
}

/* USER CODE END 4 */

void StartDefaultTask(void *argument)
{
  /* USER CODE BEGIN 5 */
  /* Infinite loop */
  for(;;)
  {
    vTaskSuspend(NULL);
  }
  /* USER CODE END 5 */
}

__weak void RegulationTask(void *argument)
{
  for(;;)
  {
    osDelay(1);
  }
}

__weak void DisplayTask(void *argument)
{
  for(;;)
  {
    osDelay(1);
  }
}

__weak void EthernetTask(void *argument)
{
  for(;;)
  {
    osDelay(1);
  }
}

__weak void RadioTask(void *argument)
{
  for(;;)
  {
    osDelay(1);
  }
}

__weak void DataLogTask(void *argument)
{
  for(;;)
  {
    osDelay(1);
  }
}

/* ConfigSaveTmr function */
__weak void ConfigSaveTmr(void *argument)
{
}

void HAL_TIM_PeriodElapsedCallback(TIM_HandleTypeDef *htim)
{
  /* USER CODE BEGIN Callback 0 */
	if(htim->Instance == TIM11){
		ulHighFreqTimerTicks ++;
	}
  /* USER CODE END Callback 0 */
  if (htim->Instance == TIM10) {
    HAL_IncTick();
    DNS_time_handler();
  }
}

void Error_Handler(void)
{
  /* USER CODE BEGIN Error_Handler_Debug */
  /* User can add his own implementation to report the HAL error return state */
	while(1);
  /* USER CODE END Error_Handler_Debug */
}

/************************ (C) COPYRIGHT STMicroelectronics *****END OF FILE****/

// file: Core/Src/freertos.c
/* USER CODE BEGIN Header */
/**
  ******************************************************************************
  * File Name          : freertos.c
  * Description        : Code for freertos applications
  ******************************************************************************
  * @attention
  *
  * <h2><center>&copy; Copyright (c) 2020 STMicroelectronics.
  * All rights reserved.</center></h2>
  *
  * This software component is licensed by ST under Ultimate Liberty license
  * SLA0044, the "License"; You may not use this file except in compliance with
  * the License. You may obtain a copy of the License at:
  *                             www.st.com/SLA0044
  *
  ******************************************************************************
  */
/* USER CODE END Header */

#include "FreeRTOS.h"
#include "task.h"
#include "main.h"

/* Hook prototypes */
void configureTimerForRunTimeStats(void);
unsigned long getRunTimeCounterValue(void);

/* USER CODE BEGIN 1 */
/* Functions needed when configGENERATE_RUN_TIME_STATS is on */
__weak void configureTimerForRunTimeStats(void)
{

}

__weak unsigned long getRunTimeCounterValue(void)
{
return 0;
}
/* USER CODE END 1 */

/************************ (C) COPYRIGHT STMicroelectronics *****END OF FILE****/
